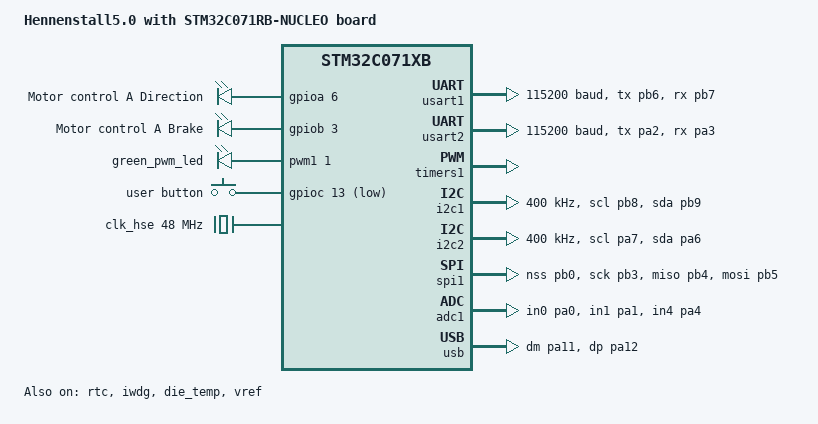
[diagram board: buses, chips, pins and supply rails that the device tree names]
/*
 * Copyright (c) 2024 STMicroelectronics
 *
 * SPDX-License-Identifier: Apache-2.0
 */

/dts-v1/;
#include <st/c0/stm32c071Xb.dtsi>
#include <st/c0/stm32c071rbtx-pinctrl.dtsi>
// #include "arduino_r3_connector.dtsi"
// #include <zephyr/dt-bindings/input/input-event-codes.h>

/ {
	model = "Hennenstall5.0 with STM32C071RB-NUCLEO board";
	compatible = "rmkl,hs5_c071rb";

	chosen {
		zephyr,console = &usart2;
		zephyr,shell-uart = &usart2;
		zephyr,sram = &sram0;
		zephyr,flash = &flash0;
	};

	motorcontrol: motorcontrol {
		compatible = "gpio-leds";
		status = "okay";
		dira: dira {
			gpios = <&gpioa 6 GPIO_ACTIVE_HIGH>; // PA6 = Arduino D12(MISO) = CN10 13(SPIA_MISO)
			label = "Motor control A Direction";
		};

		brakea: brakea {
			gpios = <&gpiob 3 GPIO_ACTIVE_HIGH>; // PB3 = Arduino PWM/D9 = CN10 19 (GPIO)
			label = "Motor control A Brake";
		};
	};

	pwmleds {
		compatible = "pwm-leds";
		status = "okay";

		green_pwm_led: green_pwm_led {
			pwms = <&pwm1 1 PWM_USEC(40) PWM_POLARITY_NORMAL>;
		};
	};

	gpio_keys {
		compatible = "gpio-keys";

		user_button: button {
			label = "user button";
			gpios = <&gpioc 13 (GPIO_ACTIVE_LOW | GPIO_PULL_UP)>;
			status = "okay";
			// zephyr,code = <INPUT_KEY_0>;
		};
	};


	aliases {
		motor-a-brake = &brakea;
		motor-a-dir = &dira;
	// 	led0 = &green_led_1;
	// 	led1 = &blue_led;
	// 	pwm-led0 = &green_pwm_led;
	 	button-open = &user_button;
	// 	watchdog0 = &iwdg;
	// 	die-temp0 = &die_temp;
	// 	volt-sensor0 = &vref;
	};
};

&clk_lse {
	status = "okay";
};

&clk_hse {
	clock-frequency = <DT_FREQ_M(48)>;
	status = "okay";
};

&clk_hsi {
	status = "okay";
};

&clk_hsi48 {
	status = "okay";
	crs-usb-sof;
};

&rcc {
	clocks = <&clk_hse>;
	clock-frequency = <DT_FREQ_M(48)>;
	ahb-prescaler = <1>;
	apb1-prescaler = <1>;
};

&usart1 {
	pinctrl-0 = <&usart1_tx_pb6 &usart1_rx_pb7>;
	pinctrl-names = "default";
	current-speed = <115200>;
	status = "okay";
};

&usart2 {
	pinctrl-0 = <&usart2_tx_pa2 &usart2_rx_pa3>;
	pinctrl-names = "default";
	current-speed = <115200>;
	status = "okay";
};

&rtc {
	clocks = <&rcc STM32_CLOCK(APB1, 10)>,
		 <&rcc STM32_SRC_LSE RTC_SEL(1)>;
	status = "okay";
};

&iwdg {
	status = "okay";
};

&timers1 {
	// st,prescaler = <4800>; //10kHz
	status = "okay";

	pwm1: pwm {
		status = "okay";
		pinctrl-0 = <&tim1_ch1_pa5>; // PA5 = Ardunio SCK/D13 = CN10 SPIA_SCK/11
		pinctrl-names = "default";
	};
};

&i2c1 {
	pinctrl-0 = <&i2c1_scl_pb8 &i2c1_sda_pb9>;
	pinctrl-names = "default";
	status = "okay";
	clock-frequency = <I2C_BITRATE_FAST>;
};

&i2c2 {
	pinctrl-0 = <&i2c2_scl_pa7 &i2c2_sda_pa6>;
	pinctrl-names = "default";
	status = "okay";
	clock-frequency = <I2C_BITRATE_FAST>;
};

&spi1 {
	pinctrl-0 = <&spi1_nss_pb0 &spi1_sck_pb3
		     &spi1_miso_pb4 &spi1_mosi_pb5>;
	pinctrl-names = "default";
	status = "okay";
};

&adc1 {
	pinctrl-0 = <&adc1_in0_pa0 &adc1_in1_pa1 &adc1_in4_pa4>;
	pinctrl-names = "default";
	st,adc-clock-source = "ASYNC";
	clocks = <&rcc STM32_CLOCK(APB1_2, 20)>,
		 <&rcc STM32_SRC_HSI ADC_SEL(2)>;
	clock-names = "adcx", "adc_ker";
	st,adc-prescaler = <4>;
	status = "okay";
	vref-mv = <3300>;
};

&die_temp {
	status = "okay";
};

&vref {
	status = "okay";
};

&dma1 {
	status = "okay";
};

&dmamux1 {
	status = "okay";
};

zephyr_udc0: &usb {
	pinctrl-0 = <&usb_dm_pa11 &usb_dp_pa12>;
	pinctrl-names = "default";
	status = "okay";
};
